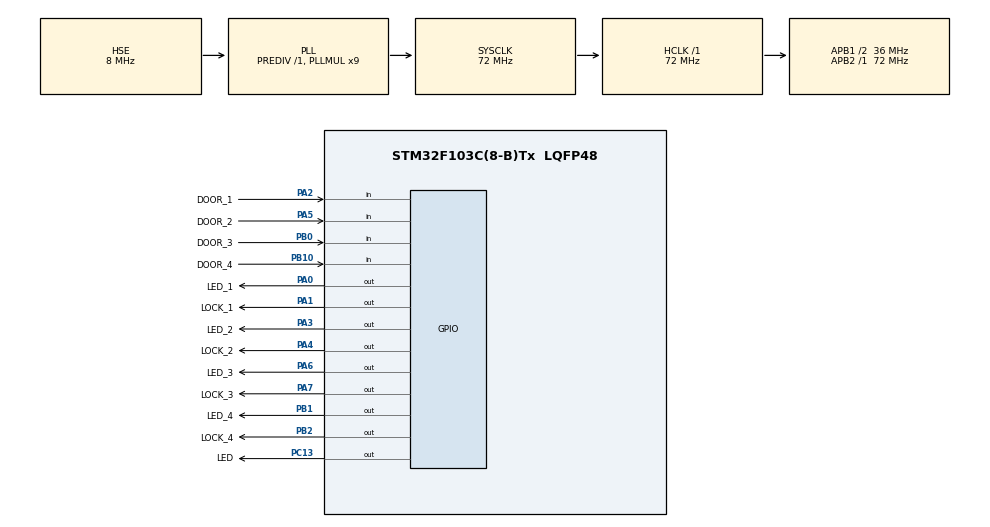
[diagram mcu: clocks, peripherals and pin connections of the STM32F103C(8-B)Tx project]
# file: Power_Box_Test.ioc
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Mcu.Family=STM32F1
Mcu.Name=STM32F103C(8-B)Tx
Mcu.Package=LQFP48
NVIC.PriorityGroup=NVIC_PRIORITYGROUP_4
NVIC.TIM2_IRQn=true\:0\:0\:false\:false\:true\:true\:true\:true
NVIC.TIM3_IRQn=true\:0\:0\:false\:false\:true\:true\:true\:true
PA0-WKUP.GPIO_Label=LED_1
PA0-WKUP.Signal=GPIO_Output
PA1.GPIO_Label=LOCK_1
PA1.Signal=GPIO_Output
PA13.Mode=Serial_Wire
PA13.Signal=SYS_JTMS-SWDIO
PA14.Mode=Serial_Wire
PA14.Signal=SYS_JTCK-SWCLK
PA2.GPIO_Label=DOOR_1
PA2.Signal=GPIO_Input
PA3.GPIO_Label=LED_2
PA3.Signal=GPIO_Output
PA4.GPIO_Label=LOCK_2
PA4.Signal=GPIO_Output
PA5.GPIO_Label=DOOR_2
PA5.Signal=GPIO_Input
PA6.GPIO_Label=LED_3
PA6.Signal=GPIO_Output
PA7.GPIO_Label=LOCK_3
PA7.Signal=GPIO_Output
PB0.GPIO_Label=DOOR_3
PB0.Signal=GPIO_Input
PB1.GPIO_Label=LED_4
PB1.Signal=GPIO_Output
PB10.GPIO_Label=DOOR_4
PB10.Signal=GPIO_Input
PB2.GPIO_Label=LOCK_4
PB2.Signal=GPIO_Output
PC13-TAMPER-RTC.GPIO_Label=LED
PC13-TAMPER-RTC.Signal=GPIO_Output
PD0-OSC_IN.Mode=HSE-External-Oscillator
PD0-OSC_IN.Signal=RCC_OSC_IN
PD1-OSC_OUT.Mode=HSE-External-Oscillator
PD1-OSC_OUT.Signal=RCC_OSC_OUT
ProjectManager.HeapSize=0x200
ProjectManager.StackSize=0x400
ProjectManager.TargetToolchain=MDK-ARM V5
RCC.AHBFreq_Value=72000000
RCC.APB1CLKDivider=RCC_HCLK_DIV2
RCC.APB1Freq_Value=36000000
RCC.APB1TimFreq_Value=72000000
RCC.APB2Freq_Value=72000000
RCC.APB2TimFreq_Value=72000000
RCC.EnbaleCSS=true
RCC.HCLKFreq_Value=72000000
RCC.PLLMUL=RCC_PLL_MUL9
RCC.PLLSourceVirtual=RCC_PLLSOURCE_HSE
RCC.SYSCLKFreq_VALUE=72000000
RCC.SYSCLKSource=RCC_SYSCLKSOURCE_PLLCLK
RCC.USBFreq_Value=72000000
TIM2.Period=1999
TIM2.Prescaler=7199
TIM3.Period=9999
TIM3.Prescaler=7199
VP_TIM2_VS_ClockSourceINT.Mode=Internal
VP_TIM3_VS_ClockSourceINT.Mode=Internal
board=custom

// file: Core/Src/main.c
/* USER CODE BEGIN Header */
/**
  ******************************************************************************
  * @file           : main.c
  * @brief          : Main program body
  ******************************************************************************
  * @attention
  *
  * Copyright (c) 2026 STMicroelectronics.
  * All rights reserved.
  *
  * This software is licensed under terms that can be found in the LICENSE file
  * in the root directory of this software component.
  * If no LICENSE file comes with this software, it is provided AS-IS.
  *
  ******************************************************************************
  */
/* USER CODE END Header */
#include "main.h"

/* USER CODE BEGIN Includes */
#include <stdbool.h>
#include <stdint.h>

#include "Typedef.h"

/* USER CODE END Includes */

/* USER CODE BEGIN PD */
static uint8_t 		Cabinet_Read_Door(uint8_t index);
static void 			Cabinet_Set_Lock(uint8_t index, uint8_t state);
static void 			Cabinet_Set_LED(uint8_t index, uint8_t state);
static void 			Cabinet_Toggle_LED(uint8_t index);
void 							Cabinet_Init(void);
void 							Cabinet_Update_Door_Status(void);
void 							Cabinet_Update_LEDs(void);
void 							Cabinet_Set_Empty(uint8_t index, uint8_t empty_state);
void 							Cabinet_Control_Lock(uint8_t index, uint8_t state);
uint8_t 					Cabinet_Get_Blinker(uint8_t index);
uint8_t 					Cabinet_Get_Status(uint8_t index);
void 							Cabinet_Reset_Blinker(uint8_t index);
/* USER CODE END PD */

/* USER CODE BEGIN PM */
static Cabinet_Pins_t cabinets[CABINET_COUNT] =
{
	#if CABINET_COUNT >= 1U
	{LED_1_GPIO_Port, LED_1_Pin, LOCK_1_GPIO_Port, LOCK_1_Pin, DOOR_1_GPIO_Port, DOOR_1_Pin}
	#endif

	#if CABINET_COUNT >= 2U
	,{LED_2_GPIO_Port, LED_2_Pin, LOCK_2_GPIO_Port, LOCK_2_Pin, DOOR_2_GPIO_Port, DOOR_2_Pin}
	#endif

	#if CABINET_COUNT >= 3U
	,{LED_3_GPIO_Port, LED_3_Pin, LOCK_3_GPIO_Port, LOCK_3_Pin, DOOR_3_GPIO_Port, DOOR_3_Pin}
	#endif

	#if CABINET_COUNT >= 4U
	,{LED_4_GPIO_Port, LED_4_Pin, LOCK_4_GPIO_Port, LOCK_4_Pin, DOOR_4_GPIO_Port, DOOR_4_Pin}
	#endif

	#if CABINET_COUNT >= 5U
	{LED_5_GPIO_Port, LED_5_Pin, LOCK_5_GPIO_Port, LOCK_5_Pin, DOOR_5_GPIO_Port, DOOR_5_Pin}
	#endif

	#if CABINET_COUNT >= 6U
	,{LED_6_GPIO_Port, LED_6_Pin, LOCK_6_GPIO_Port, LOCK_6_Pin, DOOR_6_GPIO_Port, DOOR_6_Pin}
	#endif

	#if CABINET_COUNT >= 7U
	,{LED_7_GPIO_Port, LED_7_Pin, LOCK_7_GPIO_Port, LOCK_7_Pin, DOOR_7_GPIO_Port, DOOR_7_Pin}
	#endif

	#if CABINET_COUNT >= 8U
	,{LED_8_GPIO_Port, LED_8_Pin, LOCK_8_GPIO_Port, LOCK_8_Pin, DOOR_8_GPIO_Port, DOOR_8_Pin}
	#endif

	#if CABINET_COUNT >= 9U
	{LED_9_GPIO_Port, LED_9_Pin, LOCK_9_GPIO_Port, LOCK_9_Pin, DOOR_9_GPIO_Port, DOOR_9_Pin}
	#endif

	#if CABINET_COUNT >= 10U
	,{LED_10_GPIO_Port, LED_10_Pin, LOCK_10_GPIO_Port, LOCK_10_Pin, DOOR_10_GPIO_Port, DOOR_10_Pin}
	#endif

	#if CABINET_COUNT >= 11U
	,{LED_11_GPIO_Port, LED_11_Pin, LOCK_11_GPIO_Port, LOCK_11_Pin, DOOR_11_GPIO_Port, DOOR_11_Pin}
	#endif

	#if CABINET_COUNT >= 12U
	,{LED_12_GPIO_Port, LED_12_Pin, LOCK_12_GPIO_Port, LOCK_12_Pin, DOOR_12_GPIO_Port, DOOR_12_Pin}
	#endif

		#if CABINET_COUNT >= 13U
	{LED_13_GPIO_Port, LED_13_Pin, LOCK_13_GPIO_Port, LOCK_13_Pin, DOOR_13_GPIO_Port, DOOR_13_Pin}
	#endif

	#if CABINET_COUNT >= 14U
	,{LED_14_GPIO_Port, LED_14_Pin, LOCK_14_GPIO_Port, LOCK_14_Pin, DOOR_14_GPIO_Port, DOOR_14_Pin}
	#endif

	#if CABINET_COUNT >= 15U
	,{LED_15_GPIO_Port, LED_15_Pin, LOCK_15_GPIO_Port, LOCK_15_Pin, DOOR_15_GPIO_Port, DOOR_15_Pin}
	#endif

	#if CABINET_COUNT >= 16U
	,{LED_16_GPIO_Port, LED_16_Pin, LOCK_16_GPIO_Port, LOCK_16_Pin, DOOR_16_GPIO_Port, DOOR_16_Pin}
	#endif

		#if CABINET_COUNT >= 17U
	{LED_17_GPIO_Port, LED_17_Pin, LOCK_17_GPIO_Port, LOCK_17_Pin, DOOR_17_GPIO_Port, DOOR_17_Pin}
	#endif

	#if CABINET_COUNT >= 18U
	,{LED_18_GPIO_Port, LED_18_Pin, LOCK_18_GPIO_Port, LOCK_18_Pin, DOOR_18_GPIO_Port, DOOR_18_Pin}
	#endif

	#if CABINET_COUNT >= 19U
	,{LED_19_GPIO_Port, LED_19_Pin, LOCK_19_GPIO_Port, LOCK_19_Pin, DOOR_19_GPIO_Port, DOOR_19_Pin}
	#endif

	#if CABINET_COUNT >= 20U
	,{LED_20_GPIO_Port, LED_20_Pin, LOCK_20_GPIO_Port, LOCK_20_Pin, DOOR_20_GPIO_Port, DOOR_20_Pin}
	#endif

	#if CABINET_COUNT >= 21U
	{LED_21_GPIO_Port, LED_21_Pin, LOCK_21_GPIO_Port, LOCK_21_Pin, DOOR_21_GPIO_Port, DOOR_21_Pin}
	#endif

	#if CABINET_COUNT >= 22U
	,{LED_22_GPIO_Port, LED_22_Pin, LOCK_22_GPIO_Port, LOCK_22_Pin, DOOR_22_GPIO_Port, DOOR_22_Pin}
	#endif

	#if CABINET_COUNT >= 23U
	,{LED_23_GPIO_Port, LED_23_Pin, LOCK_23_GPIO_Port, LOCK_23_Pin, DOOR_23_GPIO_Port, DOOR_23_Pin}
	#endif

	#if CABINET_COUNT >= 24U
	,{LED_24_GPIO_Port, LED_24_Pin, LOCK_24_GPIO_Port, LOCK_24_Pin, DOOR_24_GPIO_Port, DOOR_24_Pin}
	#endif

	#if CABINET_COUNT >= 25U
	{LED_25_GPIO_Port, LED_25_Pin, LOCK_25_GPIO_Port, LOCK_25_Pin, DOOR_25_GPIO_Port, DOOR_25_Pin}
	#endif

	#if CABINET_COUNT >= 26U
	,{LED_26_GPIO_Port, LED_26_Pin, LOCK_26_GPIO_Port, LOCK_26_Pin, DOOR_26_GPIO_Port, DOOR_26_Pin}
	#endif

	#if CABINET_COUNT >= 27U
	,{LED_27_GPIO_Port, LED_27_Pin, LOCK_27_GPIO_Port, LOCK_27_Pin, DOOR_27_GPIO_Port, DOOR_27_Pin}
	#endif

	#if CABINET_COUNT >= 28U
	,{LED_28_GPIO_Port, LED_28_Pin, LOCK_28_GPIO_Port, LOCK_28_Pin, DOOR_28_GPIO_Port, DOOR_28_Pin}
	#endif

	#if CABINET_COUNT >= 29U
	{LED_29_GPIO_Port, LED_29_Pin, LOCK_29_GPIO_Port, LOCK_29_Pin, DOOR_29_GPIO_Port, DOOR_29_Pin}
	#endif

	#if CABINET_COUNT >= 30U
	,{LED_30_GPIO_Port, LED_30_Pin, LOCK_30_GPIO_Port, LOCK_30_Pin, DOOR_30_GPIO_Port, DOOR_30_Pin}
	#endif

	#if CABINET_COUNT >= 31U
	,{LED_31_GPIO_Port, LED_31_Pin, LOCK_31_GPIO_Port, LOCK_31_Pin, DOOR_31_GPIO_Port, DOOR_31_Pin}
	#endif

	#if CABINET_COUNT >= 32U
	,{LED_32_GPIO_Port, LED_32_Pin, LOCK_32_GPIO_Port, LOCK_32_Pin, DOOR_32_GPIO_Port, DOOR_32_Pin}
	#endif
	/* Add more cabinets here if needed (up to 32) */
};

/* Status array for all cabinets */
static Cabinet_Status_t cabinet_status[CABINET_COUNT];
/* LED state tracking for toggling (current physical state of each LED) */
static uint8_t led_physical_state[CABINET_COUNT];

/* USER CODE END PM */

TIM_HandleTypeDef htim2;
TIM_HandleTypeDef htim3;

void SystemClock_Config(void);
static void MX_GPIO_Init(void);
static void MX_TIM2_Init(void);
static void MX_TIM3_Init(void);

int main(void)
{

  /* MCU Configuration--------------------------------------------------------*/

  /* Reset of all peripherals, Initializes the Flash interface and the Systick. */
  HAL_Init();

  /* Configure the system clock */
  SystemClock_Config();

  /* Initialize all configured peripherals */
  MX_GPIO_Init();
  MX_TIM2_Init();
  MX_TIM3_Init();
  /* USER CODE BEGIN 2 */
	Cabinet_Init();
	HAL_TIM_Base_Start_IT(&htim2);
	HAL_TIM_Base_Start_IT(&htim3);
  /* USER CODE END 2 */

  /* Infinite loop */
  while (1)
  {

    /* USER CODE BEGIN 3 */
		Cabinet_Update_Door_Status();

  }
  /* USER CODE END 3 */
}

void SystemClock_Config(void)
{
  RCC_OscInitTypeDef RCC_OscInitStruct = {0};
  RCC_ClkInitTypeDef RCC_ClkInitStruct = {0};

  /** Initializes the RCC Oscillators according to the specified parameters
  * in the RCC_OscInitTypeDef structure.
  */
  RCC_OscInitStruct.OscillatorType = RCC_OSCILLATORTYPE_HSE;
  RCC_OscInitStruct.HSEState = RCC_HSE_ON;
  RCC_OscInitStruct.HSEPredivValue = RCC_HSE_PREDIV_DIV1;
  RCC_OscInitStruct.HSIState = RCC_HSI_ON;
  RCC_OscInitStruct.PLL.PLLState = RCC_PLL_ON;
  RCC_OscInitStruct.PLL.PLLSource = RCC_PLLSOURCE_HSE;
  RCC_OscInitStruct.PLL.PLLMUL = RCC_PLL_MUL9;
  if (HAL_RCC_OscConfig(&RCC_OscInitStruct) != HAL_OK)
  {
    Error_Handler();
  }

  /** Initializes the CPU, AHB and APB buses clocks
  */
  RCC_ClkInitStruct.ClockType = RCC_CLOCKTYPE_HCLK|RCC_CLOCKTYPE_SYSCLK
                              |RCC_CLOCKTYPE_PCLK1|RCC_CLOCKTYPE_PCLK2;
  RCC_ClkInitStruct.SYSCLKSource = RCC_SYSCLKSOURCE_PLLCLK;
  RCC_ClkInitStruct.AHBCLKDivider = RCC_SYSCLK_DIV1;
  RCC_ClkInitStruct.APB1CLKDivider = RCC_HCLK_DIV2;
  RCC_ClkInitStruct.APB2CLKDivider = RCC_HCLK_DIV1;

  if (HAL_RCC_ClockConfig(&RCC_ClkInitStruct, FLASH_LATENCY_2) != HAL_OK)
  {
    Error_Handler();
  }

  /** Enables the Clock Security System
  */
  HAL_RCC_EnableCSS();
}

static void MX_TIM2_Init(void)
{

  TIM_ClockConfigTypeDef sClockSourceConfig = {0};
  TIM_MasterConfigTypeDef sMasterConfig = {0};

  htim2.Instance = TIM2;
  htim2.Init.Prescaler = 7199;
  htim2.Init.CounterMode = TIM_COUNTERMODE_UP;
  htim2.Init.Period = 1999;
  htim2.Init.ClockDivision = TIM_CLOCKDIVISION_DIV1;
  htim2.Init.AutoReloadPreload = TIM_AUTORELOAD_PRELOAD_DISABLE;
  if (HAL_TIM_Base_Init(&htim2) != HAL_OK)
  {
    Error_Handler();
  }
  sClockSourceConfig.ClockSource = TIM_CLOCKSOURCE_INTERNAL;
  if (HAL_TIM_ConfigClockSource(&htim2, &sClockSourceConfig) != HAL_OK)
  {
    Error_Handler();
  }
  sMasterConfig.MasterOutputTrigger = TIM_TRGO_RESET;
  sMasterConfig.MasterSlaveMode = TIM_MASTERSLAVEMODE_DISABLE;
  if (HAL_TIMEx_MasterConfigSynchronization(&htim2, &sMasterConfig) != HAL_OK)
  {
    Error_Handler();
  }

}

static void MX_TIM3_Init(void)
{

  TIM_ClockConfigTypeDef sClockSourceConfig = {0};
  TIM_MasterConfigTypeDef sMasterConfig = {0};

  htim3.Instance = TIM3;
  htim3.Init.Prescaler = 7199;
  htim3.Init.CounterMode = TIM_COUNTERMODE_UP;
  htim3.Init.Period = 9999;
  htim3.Init.ClockDivision = TIM_CLOCKDIVISION_DIV1;
  htim3.Init.AutoReloadPreload = TIM_AUTORELOAD_PRELOAD_DISABLE;
  if (HAL_TIM_Base_Init(&htim3) != HAL_OK)
  {
    Error_Handler();
  }
  sClockSourceConfig.ClockSource = TIM_CLOCKSOURCE_INTERNAL;
  if (HAL_TIM_ConfigClockSource(&htim3, &sClockSourceConfig) != HAL_OK)
  {
    Error_Handler();
  }
  sMasterConfig.MasterOutputTrigger = TIM_TRGO_RESET;
  sMasterConfig.MasterSlaveMode = TIM_MASTERSLAVEMODE_DISABLE;
  if (HAL_TIMEx_MasterConfigSynchronization(&htim3, &sMasterConfig) != HAL_OK)
  {
    Error_Handler();
  }

}

static void MX_GPIO_Init(void)
{
  GPIO_InitTypeDef GPIO_InitStruct = {0};

  /* GPIO Ports Clock Enable */
  __HAL_RCC_GPIOC_CLK_ENABLE();
  __HAL_RCC_GPIOD_CLK_ENABLE();
  __HAL_RCC_GPIOA_CLK_ENABLE();
  __HAL_RCC_GPIOB_CLK_ENABLE();

  /*Configure GPIO pin Output Level */
  HAL_GPIO_WritePin(LED_GPIO_Port, LED_Pin, GPIO_PIN_RESET);

  /*Configure GPIO pin Output Level */
  HAL_GPIO_WritePin(GPIOA, LED_1_Pin|LOCK_1_Pin|LED_2_Pin|LOCK_2_Pin
                          |LED_3_Pin|LOCK_3_Pin, GPIO_PIN_RESET);

  /*Configure GPIO pin Output Level */
  HAL_GPIO_WritePin(GPIOB, LED_4_Pin|LOCK_4_Pin, GPIO_PIN_RESET);

  /*Configure GPIO pin : LED_Pin */
  GPIO_InitStruct.Pin = LED_Pin;
  GPIO_InitStruct.Mode = GPIO_MODE_OUTPUT_PP;
  GPIO_InitStruct.Pull = GPIO_NOPULL;
  GPIO_InitStruct.Speed = GPIO_SPEED_FREQ_LOW;
  HAL_GPIO_Init(LED_GPIO_Port, &GPIO_InitStruct);

  /*Configure GPIO pins : LED_1_Pin LOCK_1_Pin LED_2_Pin LOCK_2_Pin
                           LED_3_Pin LOCK_3_Pin */
  GPIO_InitStruct.Pin = LED_1_Pin|LOCK_1_Pin|LED_2_Pin|LOCK_2_Pin
                          |LED_3_Pin|LOCK_3_Pin;
  GPIO_InitStruct.Mode = GPIO_MODE_OUTPUT_PP;
  GPIO_InitStruct.Pull = GPIO_NOPULL;
  GPIO_InitStruct.Speed = GPIO_SPEED_FREQ_LOW;
  HAL_GPIO_Init(GPIOA, &GPIO_InitStruct);

  /*Configure GPIO pins : DOOR_1_Pin DOOR_2_Pin */
  GPIO_InitStruct.Pin = DOOR_1_Pin|DOOR_2_Pin;
  GPIO_InitStruct.Mode = GPIO_MODE_INPUT;
  GPIO_InitStruct.Pull = GPIO_NOPULL;
  HAL_GPIO_Init(GPIOA, &GPIO_InitStruct);

  /*Configure GPIO pins : DOOR_3_Pin DOOR_4_Pin */
  GPIO_InitStruct.Pin = DOOR_3_Pin|DOOR_4_Pin;
  GPIO_InitStruct.Mode = GPIO_MODE_INPUT;
  GPIO_InitStruct.Pull = GPIO_NOPULL;
  HAL_GPIO_Init(GPIOB, &GPIO_InitStruct);

  /*Configure GPIO pins : LED_4_Pin LOCK_4_Pin */
  GPIO_InitStruct.Pin = LED_4_Pin|LOCK_4_Pin;
  GPIO_InitStruct.Mode = GPIO_MODE_OUTPUT_PP;
  GPIO_InitStruct.Pull = GPIO_NOPULL;
  GPIO_InitStruct.Speed = GPIO_SPEED_FREQ_LOW;
  HAL_GPIO_Init(GPIOB, &GPIO_InitStruct);

}

/* USER CODE BEGIN 4 */

/*-------------------------------------------------------------------------------
  Function  : Cabinet_Read_Door
  Brief     : Read door status for a specific cabinet
  Param     : index - Cabinet index (0 to CABINET_COUNT-1)
  Return    : 1 if door is open, 0 if closed
-------------------------------------------------------------------------------*/
static uint8_t Cabinet_Read_Door(uint8_t index)
{
	if (index >= CABINET_COUNT)
			return 0;

	return (HAL_GPIO_ReadPin(cabinets[index].door_port,
                           cabinets[index].door_pin) == GPIO_PIN_SET) ? 1 : 0;
}

/*-------------------------------------------------------------------------------
  Function  : Cabinet_Set_Lock
  Brief     : Set lock output for a specific cabinet
  Param     : index - Cabinet index (0 to CABINET_COUNT-1)
              state - 1 = unlock, 0 = lock
-------------------------------------------------------------------------------*/
static void Cabinet_Set_Lock(uint8_t index, uint8_t state)
{
	if (index >= CABINET_COUNT)
		 return;

	GPIO_PinState pin_state = (state == 1) ? GPIO_PIN_SET : GPIO_PIN_RESET;
	HAL_GPIO_WritePin(cabinets[index].lock_port,cabinets[index].lock_pin,pin_state);
}

/*-------------------------------------------------------------------------------
  Function  : Cabinet_Set_LED
  Brief     : Set LED output for a specific cabinet
  Param     : index - Cabinet index (0 to CABINET_COUNT-1)
              state - 1 = LED on, 0 = LED off
-------------------------------------------------------------------------------*/
static void Cabinet_Set_LED(uint8_t index, uint8_t state)
{
	if (index >= CABINET_COUNT)
			return;

	GPIO_PinState pin_state = (state == 1) ? GPIO_PIN_SET : GPIO_PIN_RESET;
	HAL_GPIO_WritePin(cabinets[index].led_port, cabinets[index].led_pin, pin_state);

	/* Update physical state tracker */
	led_physical_state[index] = state;
}

/*-------------------------------------------------------------------------------
  Function  : Cabinet_Toggle_LED
  Brief     : Toggle LED output for a specific cabinet
  Param     : index - Cabinet index (0 to CABINET_COUNT-1)
-------------------------------------------------------------------------------*/
static void Cabinet_Toggle_LED(uint8_t index)
{
	if (index >= CABINET_COUNT)
			return;

	uint8_t new_state = (led_physical_state[index] == 1) ? 0 : 1;
	Cabinet_Set_LED(index, new_state);
}

/*-------------------------------------------------------------------------------
  Function  : Cabinet_Init
  Brief     : Initialize all cabinet status to default (all zeros)
-------------------------------------------------------------------------------*/
void Cabinet_Init(void)
{
	for (uint8_t i = 0; i < CABINET_COUNT; i++)
	{
		cabinet_status[i].all = 0;   /* Clear all bits (blinker=0, empty=0, reserved=0) */
		led_physical_state[i] = 0;   /* All LEDs initially off */
		Cabinet_Set_LED(i, 0);       /* Ensure physical LED is off */
	}
}

/*-------------------------------------------------------------------------------
  Function  : Cabinet_Update_Door_Status
  Brief     : Check door status for all cabinets and update blinker bits
              Logic: If door == 1 (open), set blinker = 1
              This function should be called in main loop
-------------------------------------------------------------------------------*/
void Cabinet_Update_Door_Status(void)
{
	for (uint8_t i = 0; i < CABINET_COUNT; i++)
	{
		uint8_t door_status = Cabinet_Read_Door(i);
		/* Update blinker state based on door status */
		if (door_status == 1)   /* Door is open */
			cabinet_status[i].bits.blinker = 1;
		/* If door is closed (0), blinker state does not change */
	}
}

/*-------------------------------------------------------------------------------
  Function  : Cabinet_Update_LEDs
  Brief     : Update LED states based on blinker and empty status
              This function should be called in Timer3 interrupt (every 1 second)
              Logic:
              - If blinker == 1: Toggle LED (blinking effect)
              - If blinker == 0: Check empty state
                * If empty == 1: LED off
                * If empty == 0: LED on (steady)
-------------------------------------------------------------------------------*/
void Cabinet_Update_LEDs(void)
{
	for (uint8_t i = 0; i < CABINET_COUNT; i++)
	{
		if (cabinet_status[i].bits.blinker == 1)
		{
			/* Blinker active: Toggle LED */
			Cabinet_Toggle_LED(i);
		}
		else
		{
			/* Blinker inactive: Set LED based on empty state */
			if (cabinet_status[i].bits.empty == 1)
				Cabinet_Set_LED(i, 0);   /* Empty: LED off */
			else
				Cabinet_Set_LED(i, 1);   /* Not empty: LED on (steady) */
		}
	}
}

/*-------------------------------------------------------------------------------
  Function  : Cabinet_Set_Empty
  Brief     : Set empty state for a specific cabinet
  Param     : index       - Cabinet index (0 to CABINET_COUNT-1)
              empty_state - 1 = cabinet is empty, 0 = cabinet is occupied
-------------------------------------------------------------------------------*/
void Cabinet_Set_Empty(uint8_t index, uint8_t empty_state)
{
	if (index < CABINET_COUNT)
	{
		cabinet_status[index].bits.empty = (empty_state == 1) ? 1 : 0;
	}
}

/*-------------------------------------------------------------------------------
  Function  : Cabinet_Control_Lock
  Brief     : Manually control lock for a specific cabinet
  Param     : index - Cabinet index (0 to CABINET_COUNT-1)
              state - 1 = unlock, 0 = lock
-------------------------------------------------------------------------------*/
void Cabinet_Control_Lock(uint8_t index, uint8_t state)
{
    Cabinet_Set_Lock(index, state);
}

/*-------------------------------------------------------------------------------
  Function  : Cabinet_Get_Blinker
  Brief     : Get current blinker state of a specific cabinet
  Param     : index - Cabinet index (0 to CABINET_COUNT-1)
  Return    : 1 if blinker is active, 0 otherwise
-------------------------------------------------------------------------------*/
uint8_t Cabinet_Get_Blinker(uint8_t index)
{
	if (index < CABINET_COUNT)
	{
		return cabinet_status[index].bits.blinker;
	}
	return 0;
}

/*-------------------------------------------------------------------------------
  Function  : Cabinet_Get_Status
  Brief     : Get full status byte of a specific cabinet
  Param     : index - Cabinet index (0 to CABINET_COUNT-1)
  Return    : 8-bit status (bit0=blinker, bit1=empty, bit2-7=reserved)
-------------------------------------------------------------------------------*/
uint8_t Cabinet_Get_Status(uint8_t index)
{
	if (index < CABINET_COUNT)
	{
		return cabinet_status[index].all;
	}
	return 0;
}

/*-------------------------------------------------------------------------------
  Function  : Cabinet_Reset_Blinker
  Brief     : Manually reset blinker state for a specific cabinet
  Param     : index - Cabinet index (0 to CABINET_COUNT-1)
-------------------------------------------------------------------------------*/
void Cabinet_Reset_Blinker(uint8_t index)
{
	if (index < CABINET_COUNT)
	{
		cabinet_status[index].bits.blinker = 0;
	}
}

void HAL_TIM_PeriodElapsedCallback(TIM_HandleTypeDef *htim)
{
	if (htim->Instance == TIM2)
	{
		HAL_GPIO_TogglePin(LED_GPIO_Port,LED_Pin);
	}
	else if (htim->Instance == TIM3)
	{
		Cabinet_Update_LEDs();
	}
}
/* USER CODE END 4 */

void Error_Handler(void)
{
  __disable_irq();
  while (1)
  {
  }
}
